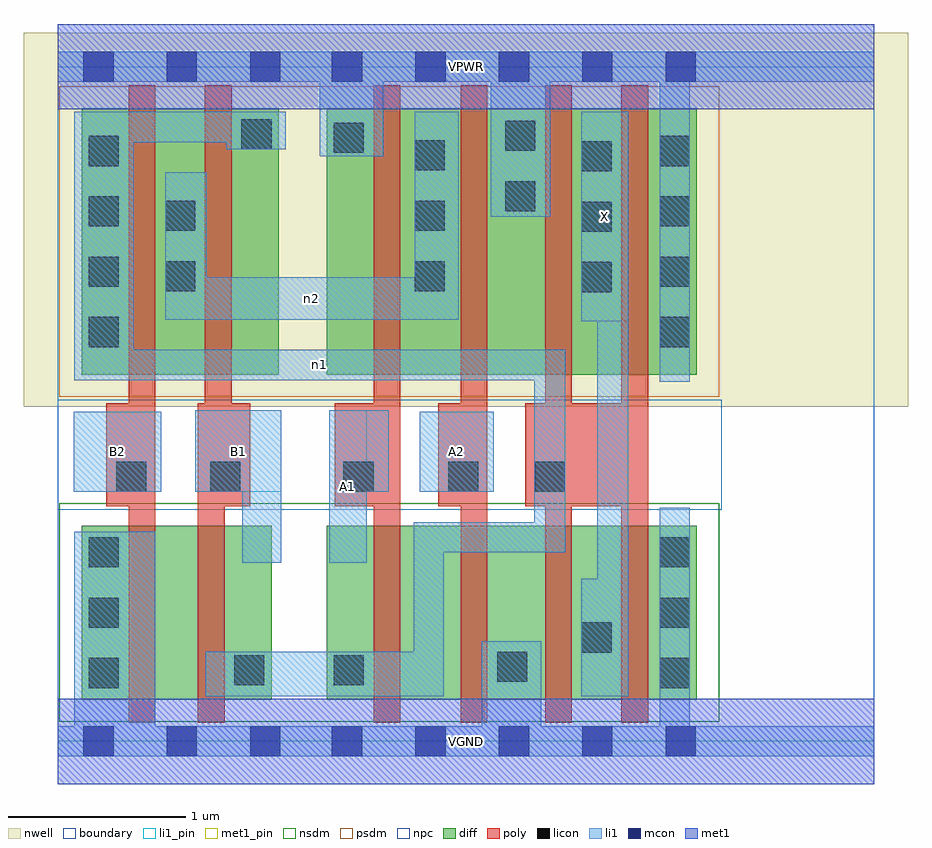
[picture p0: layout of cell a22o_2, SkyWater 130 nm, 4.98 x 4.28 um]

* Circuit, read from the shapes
.subckt a22o_2 A1 A2 B1 B2 VGND VPWR X n1 n2
XM1 n3 B2 VGND VSUBS sky130_fd_pr__nfet_01v8 w=0.98 l=0.15
XM2 n1 B1 n3 VSUBS sky130_fd_pr__nfet_01v8 w=0.98 l=0.15
XM3 n4 A1 n1 VSUBS sky130_fd_pr__nfet_01v8 w=0.98 l=0.15
XM4 VGND A2 n4 VSUBS sky130_fd_pr__nfet_01v8 w=0.98 l=0.15
XM5 X n1 VGND VSUBS sky130_fd_pr__nfet_01v8 w=0.98 l=0.15 m=2
XM6 n2 B2 n1 n5 sky130_fd_pr__pfet_01v8 w=1.5 l=0.15
XM7 n1 B1 n2 n5 sky130_fd_pr__pfet_01v8 w=1.5 l=0.15
XM8 n2 A1 VPWR n5 sky130_fd_pr__pfet_01v8 w=1.5 l=0.15
XM9 VPWR A2 n2 n5 sky130_fd_pr__pfet_01v8 w=1.5 l=0.15
XM10 X n1 VPWR n5 sky130_fd_pr__pfet_01v8 w=1.5 l=0.15 m=2
.ends

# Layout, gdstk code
import gdstk
lib = gdstk.Library(unit=1e-6, precision=1e-09)
def R(c, l, rs):  # rectangles x0, y0, x1, y1
    for r in rs: c.add(gdstk.rectangle(r[:2], r[2:], *l))
def A(c, l, x, y, w, h, nx, ny, dx, dy):  # array of equal rectangles
    R(c, l, [(x+i*dx, y+j*dy, x+i*dx+w, y+j*dy+h) for i in range(nx) for j in range(ny)])
nwell = (64, 20)
diff = (65, 20)
poly = (66, 20)
licon = (66, 44)
li1_pin = (67, 16)
li1 = (67, 20)
mcon = (67, 44)
met1_pin = (68, 16)
met1 = (68, 20)
nsdm = (93, 44)
psdm = (94, 20)
npc = (95, 20)
boundary = (235, 4)

a22o_2 = lib.new_cell('a22o_2')
R(a22o_2, nwell, [(-0.19,1.885,4.79,3.99), (0,1.885,4.6,3.99)])
R(a22o_2, diff, [(0.135,0.235,1.205,1.215), (1.515,0.235,3.6,1.215), (0.135,2.065,1.245,3.565), (1.515,2.065,3.6,3.565)])
R(a22o_2, poly, [(0.4,0.105,0.55,3.695), (0.79,0.105,0.94,1.905), (1.78,0.105,1.93,3.695), (2.27,0.105,2.42,3.695), (2.745,0.105,2.895,3.695), (3.175,0.105,3.325,3.695), (0.275,1.325,0.55,1.905), (0.79,1.325,1.085,1.905), (0.83,1.325,0.98,3.695), (1.56,1.325,1.93,1.905), (2.145,1.325,2.42,1.905), (2.635,1.325,3.325,1.905)])
A(a22o_2, licon, 0.175, 0.3, 0.17, 0.17, 1, 3, 0, 0.34)
A(a22o_2, licon, 3.39, 0.3, 0.17, 0.17, 1, 3, 0, 0.34)
A(a22o_2, licon, 0.175, 2.22, 0.17, 0.17, 1, 4, 0, 0.34)
A(a22o_2, licon, 3.39, 2.22, 0.17, 0.17, 1, 4, 0, 0.34)
A(a22o_2, licon, 2.95, 2.53, 0.17, 0.17, 1, 3, 0, 0.34)
A(a22o_2, licon, 2.01, 2.535, 0.17, 0.17, 1, 3, 0, 0.34)
R(a22o_2, licon, [(0.995,0.315,1.165,0.485), (1.555,0.315,1.725,0.485), (2.475,0.335,2.645,0.505), (2.95,0.5,3.12,0.67), (0.33,1.405,0.5,1.575), (0.86,1.405,1.03,1.575), (1.61,1.405,1.78,1.575), (2.2,1.405,2.37,1.575), (2.69,1.405,2.86,1.575), (0.605,2.535,0.775,2.705), (0.605,2.875,0.775,3.045), (2.52,2.985,2.69,3.155), (1.555,3.315,1.725,3.485), (2.52,3.325,2.69,3.495), (1.035,3.335,1.205,3.505)])
R(a22o_2, li1_pin, [(1.53,1.005,1.74,1.865), (0.09,1.405,0.585,1.855), (0.775,1.405,1.26,1.865), (2.04,1.405,2.455,1.855), (2.95,2.365,3.215,3.545)])
R(a22o_2, li1, [(0,-0.085,4.6,0.085), (0.095,-0.085,0.55,1.18), (2.39,-0.085,2.725,0.565), (3.39,-0.085,3.56,1.315), (0.835,0.255,2.175,0.505), (2.005,0.255,2.175,1.235), (2.95,0.255,3.215,0.915), (3.04,0.255,3.215,3.545), (1.04,1.005,1.26,1.865), (1.53,1.005,1.74,1.865), (2.005,1.065,2.86,1.235), (2.685,1.065,2.86,2.205), (0.09,1.405,0.585,1.855), (0.775,1.405,1.26,1.865), (1.53,1.405,1.865,1.865), (2.04,1.405,2.455,1.855), (3.39,2.025,3.56,3.885), (0.095,2.035,2.86,2.205), (0.095,2.035,0.43,3.545), (2.95,2.365,3.215,3.545), (0.605,2.375,2.26,2.615), (0.605,2.375,0.84,3.205), (2.01,2.375,2.26,3.545), (2.44,2.955,2.775,3.885), (1.475,3.295,1.835,3.885), (0.95,3.335,1.285,3.545), (0.095,3.375,1.285,3.545), (0,3.715,4.6,3.885)])
A(a22o_2, mcon, 0.145, -0.085, 0.17, 0.17, 3, 2, 0.47, 3.8)
A(a22o_2, mcon, 1.545, -0.085, 0.17, 0.17, 5, 2, 0.47, 3.8)
R(a22o_2, met1_pin, [(0,-0.24,4.6,0.24), (0,3.56,4.6,4.04)])
R(a22o_2, met1, [(0,-0.24,4.6,0.24), (0,3.56,4.6,4.04)])
R(a22o_2, nsdm, [(0.01,0.11,3.725,1.34)])
R(a22o_2, psdm, [(0.01,1.94,3.725,3.69)])
R(a22o_2, npc, [(0,1.305,3.74,1.925)])
R(a22o_2, boundary, [(0,0,4.6,3.8)])
a22o_2.add(gdstk.Label('A1', (1.635,1.435), layer=67, texttype=5))
a22o_2.add(gdstk.Label('A2', (2.247,1.63), layer=67, texttype=5))
a22o_2.add(gdstk.Label('B1', (1.017,1.635), layer=67, texttype=5))
a22o_2.add(gdstk.Label('B2', (0.337,1.63), layer=67, texttype=5))
a22o_2.add(gdstk.Label('X', (3.082,2.955), layer=67, texttype=5))
a22o_2.add(gdstk.Label('n1', (1.477,2.12), layer=67, texttype=5))
a22o_2.add(gdstk.Label('n2', (1.432,2.495), layer=67, texttype=5))
a22o_2.add(gdstk.Label('VPWR', (2.3,3.8), layer=68, texttype=5))
a22o_2.add(gdstk.Label('VGND', (2.3,0), layer=68, texttype=5))
a22o_2.add(gdstk.Label('A1', (1.635,1.435), layer=67, texttype=16))
a22o_2.add(gdstk.Label('A2', (2.247,1.63), layer=67, texttype=16))
a22o_2.add(gdstk.Label('B1', (1.017,1.635), layer=67, texttype=16))
a22o_2.add(gdstk.Label('B2', (0.337,1.63), layer=67, texttype=16))
a22o_2.add(gdstk.Label('X', (3.082,2.955), layer=67, texttype=16))
a22o_2.add(gdstk.Label('VPWR', (2.3,3.8), layer=68, texttype=16))
a22o_2.add(gdstk.Label('VGND', (2.3,0), layer=68, texttype=16))

lib.write_gds('a22o_2.gds')
